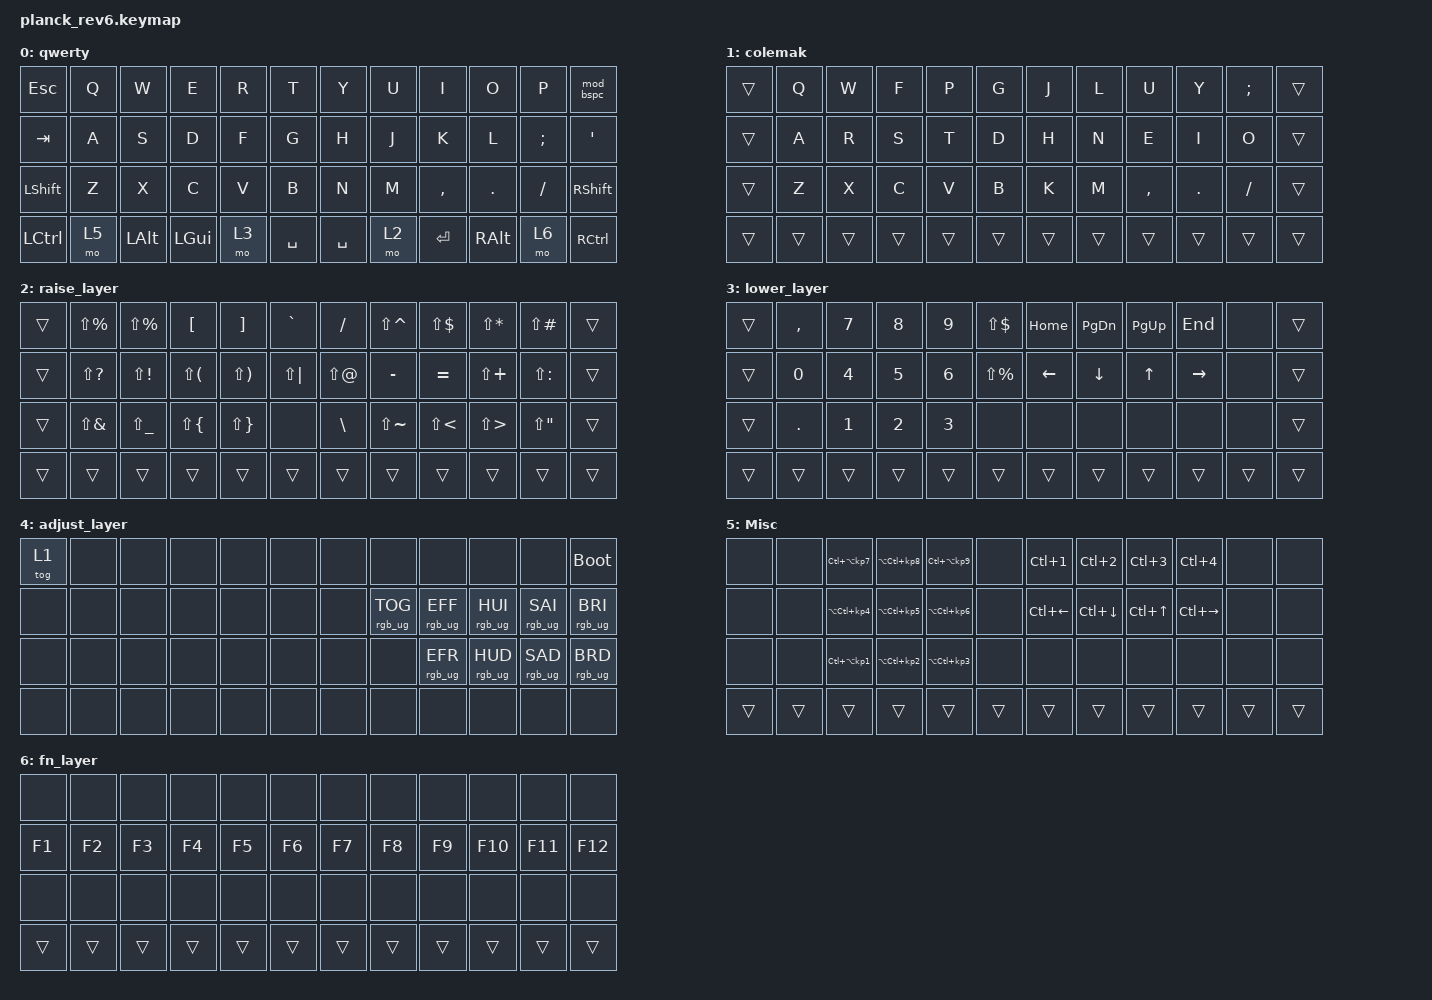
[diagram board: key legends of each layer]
#include <behaviors.dtsi>
#include <dt-bindings/zmk/keys.h>
#include <dt-bindings/zmk/rgb.h>

// layer-tap

&lt {
    tapping-term-ms = <190>;
    flavor = "balanced";
};

// one-shot layers

&sl { release-after-ms = <5000>; };

/ {
    behaviors {
        mod_bspc: mod_bspc {
            compatible = "zmk,behavior-mod-morph";
            label = "MOD_BSPC";
            bindings = <&kp BACKSPACE>, <&kp DEL>;

            #binding-cells = <0>;
            mods = <(MOD_LSFT|MOD_RSFT)>;
        };
    };

    keymap {
        compatible = "zmk,keymap";

        qwerty {
            // -----------------------------------------------------------------------------------------
            // |  TAB  |  Q   |  W   |  E   |  R   |  T   |   Y   |  U    |  I   |  O   |   P   | BSPC  |
            // |  ESC  |  A   |  S   |  D   |  F   |  G   |   H   |  J    |  K   |  L   |   ;   |  '    |
            // | SHIFT |  Z   |  X   |  C   |  V   |  B   |   N   |  M    |  ,   |  .   |   /   |  RET  |
            // |       | LCTRL | LALT | LGUI | LOWR |     SPACE    |  RAIS | LEFT | DOWN | UP  |  RIGHT |

            bindings = <
&kp ESC    &kp Q  &kp W     &kp E     &kp R  &kp T      &kp Y      &kp U  &kp I      &kp O     &kp P     &mod_bspc
&kp TAB    &kp A  &kp S     &kp D     &kp F  &kp G      &kp H      &kp J  &kp K      &kp L     &kp SEMI  &kp SQT
&kp LSHFT  &kp Z  &kp X     &kp C     &kp V  &kp B      &kp N      &kp M  &kp COMMA  &kp DOT   &kp FSLH  &kp RSHIFT
&kp LCTRL  &mo 5  &kp LALT  &kp LGUI  &mo 3  &kp SPACE  &kp SPACE  &mo 2  &kp ENTER  &kp RALT  &mo 6     &kp RCTRL
            >;
        };

        colemak {
            bindings = <
&trans  &kp Q  &kp W  &kp F   &kp P   &kp G     &kp J   &kp L   &kp U      &kp Y    &kp SEMI  &trans
&trans  &kp A  &kp R  &kp S   &kp T   &kp D     &kp H   &kp N   &kp E      &kp I    &kp O     &trans
&trans  &kp Z  &kp X  &kp C   &kp V   &kp B     &kp K   &kp M   &kp COMMA  &kp DOT  &kp FSLH  &trans
&trans  &trans  &trans  &trans  &trans  &trans  &trans  &trans  &trans     &trans   &trans    &trans
            >;
        };

        raise_layer {
            bindings = <
&trans  &kp LS(PRCNT)  &kp LS(PRCNT)  &kp LBKT      &kp RBKT      &kp GRAVE     &kp FSLH    &kp LS(CARET)  &kp LS(DLLR)  &kp LS(STAR)  &kp LS(POUND)  &trans
&trans  &kp LS(QMARK)  &kp LS(EXCL)   &kp LS(LPAR)  &kp LS(RPAR)  &kp LS(PIPE)  &kp LS(AT)  &kp MINUS      &kp EQUAL     &kp LS(PLUS)  &kp LS(COLON)  &trans
&trans  &kp LS(AMPS)   &kp LS(UNDER)  &kp LS(LBRC)  &kp LS(RBRC)  &none         &kp BSLH    &kp LS(TILDE)  &kp LS(LT)    &kp LS(GT)    &kp LS(DQT)    &trans
&trans  &trans         &trans         &trans        &trans        &trans        &trans      &trans         &trans        &trans        &trans         &trans
            >;
        };

        lower_layer {
            bindings = <
&trans  &kp COMMA  &kp N7  &kp N8  &kp N9  &kp LS(DLLR)   &kp HOME  &kp PG_DN  &kp PG_UP  &kp END    &none   &trans
&trans  &kp N0     &kp N4  &kp N5  &kp N6  &kp LS(PRCNT)  &kp LEFT  &kp DOWN   &kp UP     &kp RIGHT  &none   &trans
&trans  &kp DOT    &kp N1  &kp N2  &kp N3  &none          &none     &none      &none      &none      &none   &trans
&trans  &trans     &trans  &trans  &trans  &trans         &trans    &trans     &trans     &trans     &trans  &trans
            >;
        };

        adjust_layer {
            bindings = <
&tog 1  &none  &none  &none  &none  &none  &none  &none            &none            &none            &none            &bootloader
&none   &none  &none  &none  &none  &none  &none  &rgb_ug RGB_TOG  &rgb_ug RGB_EFF  &rgb_ug RGB_HUI  &rgb_ug RGB_SAI  &rgb_ug RGB_BRI
&none   &none  &none  &none  &none  &none  &none  &none            &rgb_ug RGB_EFR  &rgb_ug RGB_HUD  &rgb_ug RGB_SAD  &rgb_ug RGB_BRD
&none   &none  &none  &none  &none  &none  &none  &none            &none            &none            &none            &none
            >;
        };

        Misc {
            bindings = <
&none   &none  &kp LC(LA(KP_NUMBER_7))  &kp LA(LC(KP_NUMBER_8))  &kp LC(LA(KP_NUMBER_9))   &none  &kp LC(NUMBER_1)    &kp LC(NUMBER_2)    &kp LC(NUMBER_3)  &kp LC(NUMBER_4)     &none  &none
&none   &none  &kp LA(LC(KP_NUMBER_4))  &kp LA(LC(KP_NUMBER_5))  &kp LA(LC(KP_NUMBER_6))   &none  &kp LC(LEFT_ARROW)  &kp LC(DOWN_ARROW)  &kp LC(UP_ARROW)  &kp LC(RIGHT_ARROW)  &none  &none
&none   &none  &kp LC(LA(KP_NUMBER_1))  &kp LA(LC(KP_NUMBER_2))  &kp LA(LC(KP_NUMBER_3))   &none  &none              &none              &none            &none               &none  &none
&trans  &trans                   &trans                   &trans                   &trans  &trans  &trans              &trans              &trans            &trans               &trans  &trans
            >;
        };

        fn_layer {
            bindings = <
&none   &none   &none   &none   &none   &none   &none   &none   &none   &none    &none    &none
&kp F1  &kp F2  &kp F3  &kp F4  &kp F5  &kp F6  &kp F7  &kp F8  &kp F9  &kp F10  &kp F11  &kp F12
&none   &none   &none   &none   &none   &none   &none   &none   &none   &none    &none    &none
&trans  &trans  &trans  &trans  &trans  &trans  &trans  &trans  &trans  &trans   &trans   &trans
            >;
        };
    };

    conditional_layers {
        compatible = "zmk,conditional-layers";

        activate_adjust_layer {
            if-layers = <2 3>;
            then-layer = <4>;
        };
    };
};
